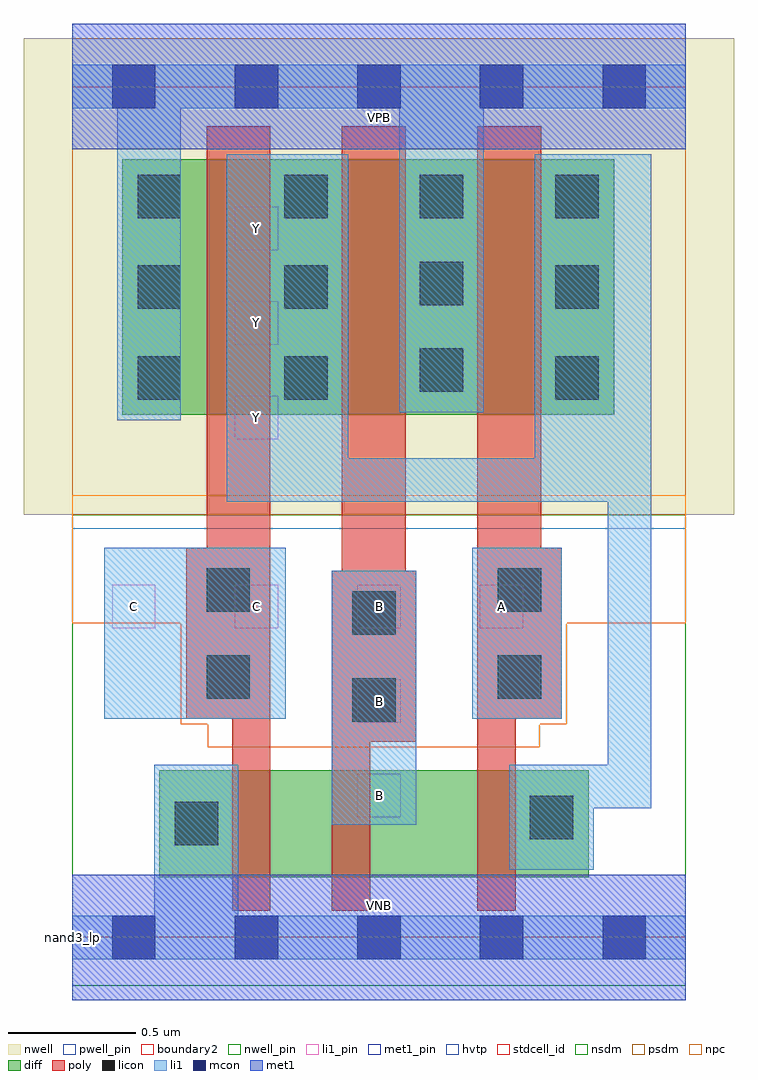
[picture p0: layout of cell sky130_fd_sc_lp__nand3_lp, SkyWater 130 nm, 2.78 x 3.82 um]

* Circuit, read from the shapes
.subckt sky130_fd_sc_lp__nand3_lp A B C VGND VNB VPB VPWR Y
XM1 n1 C VGND VNB sky130_fd_pr__nfet_01v8 w=0.42 l=0.15
XM2 n2 B n1 VNB sky130_fd_pr__nfet_01v8 w=0.42 l=0.15
XM3 Y A n2 VNB sky130_fd_pr__nfet_01v8 w=0.42 l=0.15
XM4 Y C VPWR VPB sky130_fd_pr__pfet_01v8_hvt w=1 l=0.25
XM5 VPWR B Y VPB sky130_fd_pr__pfet_01v8_hvt w=1 l=0.25
XM6 Y A VPWR VPB sky130_fd_pr__pfet_01v8_hvt w=1 l=0.25
.ends

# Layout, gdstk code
import gdstk
lib = gdstk.Library(unit=1e-6, precision=1e-09)
def R(c, l, rs):  # rectangles x0, y0, x1, y1
    for r in rs: c.add(gdstk.rectangle(r[:2], r[2:], *l))
def A(c, l, x, y, w, h, nx, ny, dx, dy):  # array of equal rectangles
    R(c, l, [(x+i*dx, y+j*dy, x+i*dx+w, y+j*dy+h) for i in range(nx) for j in range(ny)])
def P(c, l, *ps):  # polygons
    for p in ps: c.add(gdstk.Polygon(p, *l))
nwell_pin = (64, 16)
nwell = (64, 20)
diff = (65, 20)
poly = (66, 20)
licon = (66, 44)
li1_pin = (67, 16)
li1 = (67, 20)
mcon = (67, 44)
met1_pin = (68, 16)
met1 = (68, 20)
hvtp = (78, 44)
stdcell_id = (81, 4)
nsdm = (93, 44)
psdm = (94, 20)
npc = (95, 20)
pwell_pin = (122, 16)
boundary2 = (236, 0)

sky130_fd_sc_lp__nand3_l = lib.new_cell('sky130_fd_sc_lp__nand3_lp')
R(sky130_fd_sc_lp__nand3_l, nwell_pin, [(0,3.085,2.4,3.33)])
R(sky130_fd_sc_lp__nand3_l, nwell, [(-0.19,1.655,2.59,3.52)])
R(sky130_fd_sc_lp__nand3_l, diff, [(0.34,0.235,2.02,0.655), (0.195,2.045,2.12,3.045)])
P(sky130_fd_sc_lp__nand3_l, poly, [(0.775,3.175),(0.525,3.175),(0.525,1.525),(0.445,1.525),(0.445,0.855),(0.625,0.855),(0.625,0.105),(0.775,0.105)],
  [(1.345,1.435),(1.305,1.435),(1.305,3.175),(1.055,3.175),(1.055,1.435),(1.015,1.435),(1.015,0.105),(1.165,0.105),(1.165,0.765),(1.345,0.765)],
  [(1.915,1.525),(1.835,1.525),(1.835,3.175),(1.585,3.175),(1.585,0.105),(1.735,0.105),(1.735,0.855),(1.915,0.855)])
A(sky130_fd_sc_lp__nand3_l, licon, 0.255, 2.105, 0.17, 0.17, 1, 3, 0, 0.355)
A(sky130_fd_sc_lp__nand3_l, licon, 0.83, 2.815, 0.17, 0.17, 3, 1, 0.53, 0)
R(sky130_fd_sc_lp__nand3_l, licon, [(0.4,0.36,0.57,0.53), (1.79,0.385,1.96,0.555), (1.095,0.845,1.265,1.015), (0.525,0.935,0.695,1.105), (1.665,0.935,1.835,1.105), (1.095,1.185,1.265,1.355), (0.525,1.275,0.695,1.445), (1.665,1.275,1.835,1.445), (0.83,2.105,1,2.275), (1.89,2.105,2.06,2.275), (1.36,2.135,1.53,2.305), (0.83,2.46,1,2.63), (1.89,2.46,2.06,2.63), (1.36,2.475,1.53,2.645)])
A(sky130_fd_sc_lp__nand3_l, li1_pin, 0.155, 1.21, 0.17, 0.17, 4, 1, 0.48, 0)
A(sky130_fd_sc_lp__nand3_l, li1_pin, 0.635, 1.95, 0.17, 0.17, 1, 3, 0, 0.37)
R(sky130_fd_sc_lp__nand3_l, li1_pin, [(1.115,0.47,1.285,0.64), (1.115,0.84,1.285,1.01)])
R(sky130_fd_sc_lp__nand3_l, li1, [(1.015,0.44,1.345,1.435), (0.125,0.855,0.835,1.525), (1.565,0.855,1.915,1.525)])
P(sky130_fd_sc_lp__nand3_l, li1, [(1.28,2.055),(1.28,3.245),(0.425,3.245),(0.425,2.025),(0.175,2.025),(0.175,3.245),(0,3.245),(0,3.415),(2.4,3.415),(2.4,3.245),(1.61,3.245),(1.61,2.055)],
  [(0.32,0.085),(0.32,0.675),(0.65,0.675),(0.65,0.085),(2.4,0.085),(2.4,-0.085),(0,-0.085),(0,0.085)],
  [(0.605,1.705),(0.605,3.065),(1.08,3.065),(1.08,1.875),(1.81,1.875),(1.81,3.065),(2.265,3.065),(2.265,0.505),(2.04,0.505),(2.04,0.265),(1.71,0.265),(1.71,0.675),(2.095,0.675),(2.095,1.705)])
A(sky130_fd_sc_lp__nand3_l, mcon, 0.155, -0.085, 0.17, 0.17, 5, 2, 0.48, 3.33)
R(sky130_fd_sc_lp__nand3_l, met1_pin, [(0,0,2.4,0.245), (0,3.085,2.4,3.33)])
R(sky130_fd_sc_lp__nand3_l, met1, [(0,-0.245,2.4,0.245), (0,3.085,2.4,3.575)])
R(sky130_fd_sc_lp__nand3_l, hvtp, [(0,1.6,2.4,3.33)])
R(sky130_fd_sc_lp__nand3_l, stdcell_id, [(0,0,2.4,3.33)])
R(sky130_fd_sc_lp__nand3_l, nsdm, [(0,-0.19,2.4,1.655)])
R(sky130_fd_sc_lp__nand3_l, psdm, [(0,1.655,2.4,3.52)])
P(sky130_fd_sc_lp__nand3_l, npc, [(2.4,1.73),(0,1.73),(0,1.23),(0.425,1.23),(0.425,0.835),(0.53,0.835),(0.53,0.745),(1.83,0.745),(1.83,0.835),(1.935,0.835),(1.935,1.23),(2.4,1.23)])
R(sky130_fd_sc_lp__nand3_l, pwell_pin, [(0,0,2.4,0.245)])
R(sky130_fd_sc_lp__nand3_l, boundary2, [(0,0,2.4,3.33)])
sky130_fd_sc_lp__nand3_l.add(gdstk.Label('VNB', (1.2,0.123), layer=64, texttype=59))
sky130_fd_sc_lp__nand3_l.add(gdstk.Label('VPB', (1.2,3.208), layer=64, texttype=5))
sky130_fd_sc_lp__nand3_l.add(gdstk.Label('nand3_lp', (0,0), layer=83, texttype=44))
sky130_fd_sc_lp__nand3_l.add(gdstk.Label('VPWR', (1.2,3.208), layer=68, texttype=5))
sky130_fd_sc_lp__nand3_l.add(gdstk.Label('VGND', (1.2,0.123), layer=68, texttype=5))
sky130_fd_sc_lp__nand3_l.add(gdstk.Label('Y', (0.72,2.035), layer=67, texttype=5))
sky130_fd_sc_lp__nand3_l.add(gdstk.Label('Y', (0.72,2.405), layer=67, texttype=5))
sky130_fd_sc_lp__nand3_l.add(gdstk.Label('Y', (0.72,2.775), layer=67, texttype=5))
sky130_fd_sc_lp__nand3_l.add(gdstk.Label('A', (1.68,1.295), layer=67, texttype=5))
sky130_fd_sc_lp__nand3_l.add(gdstk.Label('C', (0.24,1.295), layer=67, texttype=5))
sky130_fd_sc_lp__nand3_l.add(gdstk.Label('C', (0.72,1.295), layer=67, texttype=5))
sky130_fd_sc_lp__nand3_l.add(gdstk.Label('B', (1.2,0.555), layer=67, texttype=5))
sky130_fd_sc_lp__nand3_l.add(gdstk.Label('B', (1.2,0.925), layer=67, texttype=5))
sky130_fd_sc_lp__nand3_l.add(gdstk.Label('B', (1.2,1.295), layer=67, texttype=5))

lib.write_gds('sky130_fd_sc_lp__nand3_lp.gds')
